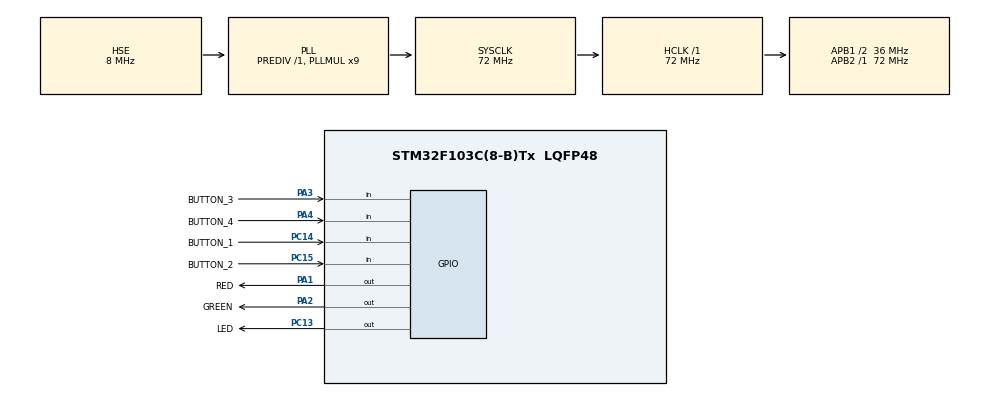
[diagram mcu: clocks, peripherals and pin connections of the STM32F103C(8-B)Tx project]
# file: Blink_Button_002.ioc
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Mcu.Family=STM32F1
Mcu.Name=STM32F103C(8-B)Tx
Mcu.Package=LQFP48
NVIC.PriorityGroup=NVIC_PRIORITYGROUP_4
PA1.GPIO_Label=RED
PA1.Signal=GPIO_Output
PA13.Mode=Serial_Wire
PA13.Signal=SYS_JTMS-SWDIO
PA14.Mode=Serial_Wire
PA14.Signal=SYS_JTCK-SWCLK
PA2.GPIO_Label=GREEN
PA2.Signal=GPIO_Output
PA3.GPIO_Label=BUTTON_3
PA3.Signal=GPIO_Input
PA4.GPIO_Label=BUTTON_4
PA4.Signal=GPIO_Input
PC13-TAMPER-RTC.GPIO_Label=LED
PC13-TAMPER-RTC.Signal=GPIO_Output
PC14-OSC32_IN.GPIO_Label=BUTTON_1
PC14-OSC32_IN.Signal=GPIO_Input
PC15-OSC32_OUT.GPIO_Label=BUTTON_2
PC15-OSC32_OUT.Signal=GPIO_Input
PD0-OSC_IN.Mode=HSE-External-Oscillator
PD0-OSC_IN.Signal=RCC_OSC_IN
PD1-OSC_OUT.Mode=HSE-External-Oscillator
PD1-OSC_OUT.Signal=RCC_OSC_OUT
ProjectManager.HeapSize=0x200
ProjectManager.StackSize=0x400
ProjectManager.TargetToolchain=STM32CubeIDE
RCC.AHBFreq_Value=72000000
RCC.APB1CLKDivider=RCC_HCLK_DIV2
RCC.APB1Freq_Value=36000000
RCC.APB1TimFreq_Value=72000000
RCC.APB2Freq_Value=72000000
RCC.APB2TimFreq_Value=72000000
RCC.HCLKFreq_Value=72000000
RCC.PLLMUL=RCC_PLL_MUL9
RCC.PLLSourceVirtual=RCC_PLLSOURCE_HSE
RCC.SYSCLKFreq_VALUE=72000000
RCC.SYSCLKSource=RCC_SYSCLKSOURCE_PLLCLK
RCC.USBFreq_Value=72000000
board=custom

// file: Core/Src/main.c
/* USER CODE BEGIN Header */
/**
 ******************************************************************************
 * @file           : main.c
 * @brief          : Main program body
 ******************************************************************************
 * @attention
 *
 * Copyright (c) 2024 STMicroelectronics.
 * All rights reserved.
 *
 * This software is licensed under terms that can be found in the LICENSE file
 * in the root directory of this software component.
 * If no LICENSE file comes with this software, it is provided AS-IS.
 *
 ******************************************************************************
 */
/* USER CODE END Header */
#include "main.h"

/* USER CODE BEGIN Includes */
#include "stdbool.h"
/* USER CODE END Includes */

/* USER CODE BEGIN PV */
bool flag, flag_block_1, flag_set_1, flag_block_2, flag_set_2;
unsigned long T;
/* USER CODE END PV */

void SystemClock_Config(void);
static void MX_GPIO_Init(void);
/* USER CODE BEGIN PFP */
void Blink();
void Button_1();
void Button_2();
/* USER CODE END PFP */

int main(void) {

	/* MCU Configuration--------------------------------------------------------*/

	/* Reset of all peripherals, Initializes the Flash interface and the Systick. */
	HAL_Init();

	/* Configure the system clock */
	SystemClock_Config();

	/* Initialize all configured peripherals */
	MX_GPIO_Init();

	/* Infinite loop */
	while (1) {

		/* USER CODE BEGIN 3 */
		Blink();
		Button_1();
		Button_2();
	}
	/* USER CODE END 3 */
}

void SystemClock_Config(void) {
	RCC_OscInitTypeDef RCC_OscInitStruct = { 0 };
	RCC_ClkInitTypeDef RCC_ClkInitStruct = { 0 };

	/** Initializes the RCC Oscillators according to the specified parameters
	 * in the RCC_OscInitTypeDef structure.
	 */
	RCC_OscInitStruct.OscillatorType = RCC_OSCILLATORTYPE_HSE;
	RCC_OscInitStruct.HSEState = RCC_HSE_ON;
	RCC_OscInitStruct.HSEPredivValue = RCC_HSE_PREDIV_DIV1;
	RCC_OscInitStruct.HSIState = RCC_HSI_ON;
	RCC_OscInitStruct.PLL.PLLState = RCC_PLL_ON;
	RCC_OscInitStruct.PLL.PLLSource = RCC_PLLSOURCE_HSE;
	RCC_OscInitStruct.PLL.PLLMUL = RCC_PLL_MUL9;
	if (HAL_RCC_OscConfig(&RCC_OscInitStruct) != HAL_OK) {
		Error_Handler();
	}

	/** Initializes the CPU, AHB and APB buses clocks
	 */
	RCC_ClkInitStruct.ClockType = RCC_CLOCKTYPE_HCLK | RCC_CLOCKTYPE_SYSCLK
			| RCC_CLOCKTYPE_PCLK1 | RCC_CLOCKTYPE_PCLK2;
	RCC_ClkInitStruct.SYSCLKSource = RCC_SYSCLKSOURCE_PLLCLK;
	RCC_ClkInitStruct.AHBCLKDivider = RCC_SYSCLK_DIV1;
	RCC_ClkInitStruct.APB1CLKDivider = RCC_HCLK_DIV2;
	RCC_ClkInitStruct.APB2CLKDivider = RCC_HCLK_DIV1;

	if (HAL_RCC_ClockConfig(&RCC_ClkInitStruct, FLASH_LATENCY_2) != HAL_OK) {
		Error_Handler();
	}
}

static void MX_GPIO_Init(void) {
	GPIO_InitTypeDef GPIO_InitStruct = { 0 };

	/* GPIO Ports Clock Enable */
	__HAL_RCC_GPIOC_CLK_ENABLE();
	__HAL_RCC_GPIOD_CLK_ENABLE();
	__HAL_RCC_GPIOA_CLK_ENABLE();

	/*Configure GPIO pin Output Level */
	HAL_GPIO_WritePin(LED_GPIO_Port, LED_Pin, GPIO_PIN_RESET);

	/*Configure GPIO pin Output Level */
	HAL_GPIO_WritePin(GPIOA, RED_Pin | GREEN_Pin, GPIO_PIN_RESET);

	/*Configure GPIO pin : LED_Pin */
	GPIO_InitStruct.Pin = LED_Pin;
	GPIO_InitStruct.Mode = GPIO_MODE_OUTPUT_PP;
	GPIO_InitStruct.Pull = GPIO_NOPULL;
	GPIO_InitStruct.Speed = GPIO_SPEED_FREQ_LOW;
	HAL_GPIO_Init(LED_GPIO_Port, &GPIO_InitStruct);

	/*Configure GPIO pins : BUTTON_1_Pin BUTTON_2_Pin */
	GPIO_InitStruct.Pin = BUTTON_1_Pin | BUTTON_2_Pin;
	GPIO_InitStruct.Mode = GPIO_MODE_INPUT;
	GPIO_InitStruct.Pull = GPIO_NOPULL;
	HAL_GPIO_Init(GPIOC, &GPIO_InitStruct);

	/*Configure GPIO pins : RED_Pin GREEN_Pin */
	GPIO_InitStruct.Pin = RED_Pin | GREEN_Pin;
	GPIO_InitStruct.Mode = GPIO_MODE_OUTPUT_PP;
	GPIO_InitStruct.Pull = GPIO_NOPULL;
	GPIO_InitStruct.Speed = GPIO_SPEED_FREQ_LOW;
	HAL_GPIO_Init(GPIOA, &GPIO_InitStruct);

	/*Configure GPIO pins : BUTTON_3_Pin BUTTON_4_Pin */
	GPIO_InitStruct.Pin = BUTTON_3_Pin | BUTTON_4_Pin;
	GPIO_InitStruct.Mode = GPIO_MODE_INPUT;
	GPIO_InitStruct.Pull = GPIO_NOPULL;
	HAL_GPIO_Init(GPIOA, &GPIO_InitStruct);

}

/* USER CODE BEGIN 4 */
void Blink() {
	//LED_GPIO_Port = GPIOC;
	//LED_Pin = GPIO_PIN_13
	if (flag == 1) {
		if (HAL_GetTick() - T >= 2000) {
			flag = 0;
			T = HAL_GetTick();
		}
	}
	if (flag == 0) {
		if (HAL_GetTick() - T >= 2000) {
			flag = 1;
			T = HAL_GetTick();
		}
	}
	/* OR
	 if(flag) {
	 GPIOC->BSRR = (uint32_t) LED_Pin << 16u;
	 } else {
	 GPIOC->BSRR = LED_Pin;
	 }
	 */
	HAL_GPIO_WritePin(GPIOC, LED_Pin, flag);
}

void Button_1() {
	if ((GPIOC->IDR & BUTTON_1_Pin) && !flag_block_1) {
		flag_block_1 = 1;
		flag_set_1 = !flag_set_1;
		if (flag_set_1) {
			GPIOA->BSRR = RED_Pin;
		} else if (!flag_set_1) {
			GPIOA->BRR = RED_Pin;
		}
	} else if (!(GPIOC->IDR & BUTTON_1_Pin) && flag_block_1) {
		flag_block_1 = 0;
	}
}

void Button_2() {
	if ((GPIOC->IDR & BUTTON_2_Pin) && !flag_block_1) {
		flag_block_2 = 1;
		flag_set_2 = !flag_set_2;
		if (flag_set_1) {
			GPIOA->BSRR = GREEN_Pin;
		} else if (!flag_set_2) {
			GPIOA->BRR = GREEN_Pin;
		}
	} else if (!(GPIOC->IDR & BUTTON_2_Pin) && flag_block_2) {
		flag_block_2 = 0;
	}
}
/* USER CODE END 4 */

void Error_Handler(void) {
	__disable_irq();
	while (1) {
	}
}
